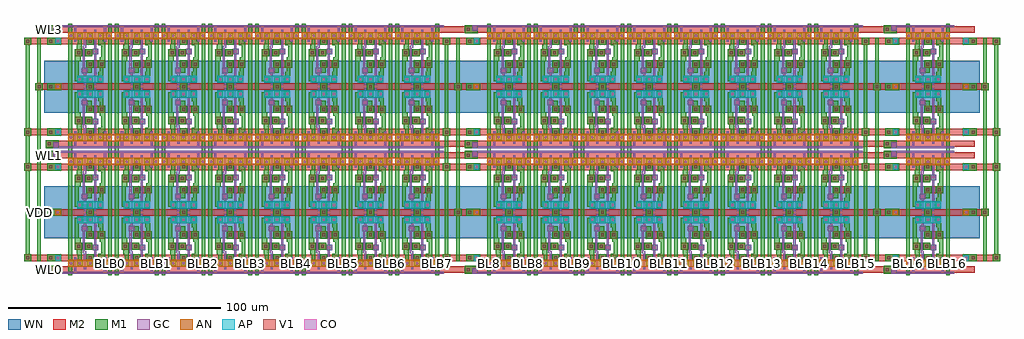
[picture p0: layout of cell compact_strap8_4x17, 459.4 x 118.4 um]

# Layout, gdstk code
import gdstk
lib = gdstk.Library(unit=1e-6, precision=1e-07)
def R(c, l, rs):  # rectangles x0, y0, x1, y1
    for r in rs: c.add(gdstk.rectangle(r[:2], r[2:], *l))
def A(c, l, x, y, w, h, nx, ny, dx, dy):  # array of equal rectangles
    R(c, l, [(x+i*dx, y+j*dy, x+i*dx+w, y+j*dy+h) for i in range(nx) for j in range(ny)])
def P(c, l, *ps):  # polygons
    for p in ps: c.add(gdstk.Polygon(p, *l))
AP = (3, 1)
AN = (3, 2)
GC = (8, 1)
CO = (11, 0)
M1 = (13, 0)
V1 = (19, 0)
M2 = (20, 0)
WN = (140, 0)

compact_core = lib.new_cell('compact_core')
R(compact_core, AP, [(3.5,18.7,15.7,22.1)])
R(compact_core, AN, [(-0.7,-1.7,19.9,1.7)])
R(compact_core, GC, [(0,-5.1,22,-4.1), (2.1,-5.1,3.1,2.9), (16.1,-5.1,17.1,2.9), (6.7,-2.9,7.7,5.6), (11.5,-2.9,12.5,23.3), (6.1,4.6,7.7,5.6), (6.1,4.6,7.1,17.9), (10.9,6.1,13.5,8.7), (11.5,6.9,12.7,7.9), (5.7,15.1,8.3,17.7), (6.1,15.9,7.5,16.9), (6.1,16.9,7.7,17.9), (6.7,16.9,7.7,23.3)])
A(compact_core, CO, 4.3, -0.5, 1, 1, 3, 2, 4.8, 20.4)
R(compact_core, CO, [(0.1,-0.5,1.1,0.5), (18.1,-0.5,19.1,0.5), (11.7,6.9,12.7,7.9), (6.5,15.9,7.5,16.9)])
P(compact_core, M1, [(8.3,-1.3),(8.3,0.8),(7.9,0.8),(7.9,4.2),(11.3,4.2),(11.3,0.8),(10.9,0.8),(10.9,-1.3)],
  [(10.9,6.1),(10.9,6.2),(7.3,6.2),(7.3,9.6),(10.7,9.6),(10.7,8.7),(13.5,8.7),(13.5,6.1)],
  [(7.9,11.6),(7.9,15.1),(5.7,15.1),(5.7,17.7),(8.3,17.7),(8.3,17.3),(10.5,17.3),(10.5,15),(11.3,15),(11.3,11.6)],
  [(3.5,-1.3),(3.5,1.3),(3.9,1.3),(3.9,4.1),(3.3,4.1),(3.3,6.2),(2.5,6.2),(2.5,21.3),(3.5,21.3),(3.5,21.7),(6.1,21.7),(6.1,19.1),(4.3,19.1),(4.3,11.9),(5.1,11.9),(5.1,9.6),(5.9,9.6),(5.9,6.2),(5.7,6.2),(5.7,1.3),(6.1,1.3),(6.1,-1.3)],
  [(13.1,-1.3),(13.1,1.3),(13.5,1.3),(13.5,4.5),(14.9,4.5),(14.9,10.1),(14.1,10.1),(14.1,11.6),(13.3,11.6),(13.3,15),(14.1,15),(14.1,16.9),(13.5,16.9),(13.5,19.1),(13.1,19.1),(13.1,21.7),(15.7,21.7),(15.7,18.7),(15.9,18.7),(15.9,15),(16.7,15),(16.7,2.7),(15.7,2.7),(15.7,-1.3)],
  [(-0.7,-5.7),(-0.7,23.9),(1.1,23.9),(1.1,1.3),(1.9,1.3),(1.9,-1.3),(1.1,-1.3),(1.1,-5.7)],
  [(18.1,-5.7),(18.1,-1.3),(17.3,-1.3),(17.3,1.3),(18.1,1.3),(18.1,23.9),(19.9,23.9),(19.9,-5.7)],
  [(8.3,19.1),(8.3,22.2),(7.9,22.2),(7.9,25.6),(11.3,25.6),(11.3,22.2),(10.9,22.2),(10.9,19.1)])
R(compact_core, V1, [(8.9,1.8,10.3,3.2), (3.5,7.2,4.9,8.6), (8.3,7.2,9.7,8.6), (8.9,12.6,10.3,14), (14.3,12.6,15.7,14), (8.9,23.2,10.3,24.6)])
R(compact_core, M2, [(0,-4.5,22,-1.5), (7.9,0.8,11.3,4.2), (0,1,22,4), (2.5,6.2,5.9,9.6), (2.5,6.2,10.7,9.6), (7.3,6.2,10.7,9.6), (7.9,11.6,11.3,15), (7.9,11.6,16.7,15), (13.3,11.6,16.7,15), (7.9,22.2,11.3,25.6), (0,22.4,22,25.4)])
R(compact_core, WN, [(-3.5,11.7,25.5,29.1)])

compact_strap8_4x17 = lib.new_cell('compact_strap8_4x17')
A(compact_strap8_4x17, AP, -6.9, 6.9, 2.6, 2.6, 3, 2, 197.2, 42.8)
A(compact_strap8_4x17, AP, -6.9, 66.1, 2.6, 2.6, 3, 2, 197.2, 42.8)
R(compact_strap8_4x17, AP, [(420.7,6.9,423.3,9.5), (420.7,49.7,423.3,52.3), (420.7,66.1,423.3,68.7), (420.7,108.9,423.3,111.5)])
A(compact_strap8_4x17, AN, -6.9, 28.3, 2.6, 2.6, 3, 2, 197.2, 59.2)
R(compact_strap8_4x17, AN, [(420.7,28.3,423.3,30.9), (420.7,87.5,423.3,90.1)])
A(compact_strap8_4x17, GC, -6.9, 0.6, 1, 1.9, 3, 2, 197.2, 56.1)
A(compact_strap8_4x17, GC, -6.4, 0.6, 6.4, 1, 3, 2, 197.2, 57)
A(compact_strap8_4x17, GC, -7.7, 0.7, 2.6, 2.6, 3, 2, 197.2, 55.2)
A(compact_strap8_4x17, GC, -6.9, 59.8, 1, 1.9, 3, 2, 197.2, 56.1)
A(compact_strap8_4x17, GC, -6.4, 59.8, 6.4, 1, 3, 2, 197.2, 57)
A(compact_strap8_4x17, GC, -7.7, 59.9, 2.6, 2.6, 3, 2, 197.2, 55.2)
A(compact_strap8_4x17, CO, -6.9, 1.5, 1, 1, 3, 2, 197.2, 55.2)
A(compact_strap8_4x17, CO, -6.1, 7.7, 1, 1, 3, 3, 197.2, 21.4)
A(compact_strap8_4x17, CO, 421.5, 7.7, 1, 1, 1, 3, 0, 21.4)
A(compact_strap8_4x17, CO, -6.9, 60.7, 1, 1, 3, 2, 197.2, 55.2)
A(compact_strap8_4x17, CO, -6.1, 66.9, 1, 1, 3, 3, 197.2, 21.4)
A(compact_strap8_4x17, CO, 421.5, 66.9, 1, 1, 1, 3, 0, 21.4)
A(compact_strap8_4x17, M1, -11.3, 0.7, 6.2, 3.7, 3, 2, 197.2, 54.1)
A(compact_strap8_4x17, M1, -7.7, 0.7, 2.6, 2.6, 3, 2, 197.2, 55.2)
A(compact_strap8_4x17, M1, -11.3, 1, 3.4, 3.4, 3, 2, 197.2, 53.8)
A(compact_strap8_4x17, M1, -10.5, 6.5, 3.4, 3.4, 1, 3, 0, 21.4)
A(compact_strap8_4x17, M1, -10.5, 6.5, 6.6, 3.4, 3, 3, 197.2, 21.4)
A(compact_strap8_4x17, M1, 186.7, 6.5, 3.4, 3.4, 1, 3, 0, 21.4)
A(compact_strap8_4x17, M1, 383.9, 6.5, 3.4, 3.4, 1, 3, 0, 21.4)
A(compact_strap8_4x17, M1, 420.3, 6.5, 6.6, 3.4, 1, 3, 0, 21.4)
A(compact_strap8_4x17, M1, 423.5, 6.5, 3.4, 3.4, 1, 3, 0, 21.4)
A(compact_strap8_4x17, M1, -6.9, 6.9, 2.6, 2.6, 3, 3, 197.2, 21.4)
A(compact_strap8_4x17, M1, 420.7, 6.9, 2.6, 2.6, 1, 3, 0, 21.4)
A(compact_strap8_4x17, M1, -11.3, 59.9, 6.2, 3.7, 3, 2, 197.2, 54.1)
A(compact_strap8_4x17, M1, -7.7, 59.9, 2.6, 2.6, 3, 2, 197.2, 55.2)
A(compact_strap8_4x17, M1, -11.3, 60.2, 3.4, 3.4, 3, 2, 197.2, 53.8)
A(compact_strap8_4x17, M1, -10.5, 65.7, 3.4, 3.4, 1, 3, 0, 21.4)
A(compact_strap8_4x17, M1, -10.5, 65.7, 6.6, 3.4, 3, 3, 197.2, 21.4)
A(compact_strap8_4x17, M1, 186.7, 65.7, 3.4, 3.4, 1, 3, 0, 21.4)
A(compact_strap8_4x17, M1, 383.9, 65.7, 3.4, 3.4, 1, 3, 0, 21.4)
A(compact_strap8_4x17, M1, 420.3, 65.7, 6.6, 3.4, 1, 3, 0, 21.4)
A(compact_strap8_4x17, M1, 423.5, 65.7, 3.4, 3.4, 1, 3, 0, 21.4)
A(compact_strap8_4x17, M1, -6.9, 66.1, 2.6, 2.6, 3, 3, 197.2, 21.4)
A(compact_strap8_4x17, M1, 420.7, 66.1, 2.6, 2.6, 1, 3, 0, 21.4)
R(compact_strap8_4x17, M1, [(-21.5,6.5,-18.1,9.9), (-20.7,6.5,-18.9,111.9), (-15.3,6.5,-13.5,111.9), (175.7,6.5,179.1,9.9), (176.5,6.5,178.3,111.9), (181.9,6.5,183.7,111.9), (372.9,6.5,376.3,9.9), (373.7,6.5,375.5,111.9), (379.1,6.5,380.9,111.9), (429.9,6.5,431.7,111.9), (434.5,6.5,437.9,9.9), (435.3,6.5,437.1,111.9), (-16.1,27.9,-12.7,31.3), (181.1,27.9,184.5,31.3), (378.3,27.9,381.7,31.3), (429.1,27.9,432.5,31.3), (-21.5,49.3,-18.1,52.7), (175.7,49.3,179.1,52.7), (372.9,49.3,376.3,52.7), (434.5,49.3,437.9,52.7), (-21.5,65.7,-18.1,69.1), (175.7,65.7,179.1,69.1), (372.9,65.7,376.3,69.1), (434.5,65.7,437.9,69.1), (-16.1,87.1,-12.7,90.5), (181.1,87.1,184.5,90.5), (378.3,87.1,381.7,90.5), (429.1,87.1,432.5,90.5), (-21.5,108.5,-18.1,111.9), (175.7,108.5,179.1,111.9), (372.9,108.5,376.3,111.9), (434.5,108.5,437.9,111.9)])
A(compact_strap8_4x17, V1, -10.3, 2, 1.4, 1.4, 3, 2, 197.2, 53.8)
A(compact_strap8_4x17, V1, -9.5, 7.5, 1.4, 1.4, 1, 3, 0, 21.4)
A(compact_strap8_4x17, V1, 187.7, 7.5, 1.4, 1.4, 1, 3, 0, 21.4)
A(compact_strap8_4x17, V1, 384.9, 7.5, 1.4, 1.4, 1, 3, 0, 21.4)
A(compact_strap8_4x17, V1, 424.5, 7.5, 1.4, 1.4, 1, 3, 0, 21.4)
A(compact_strap8_4x17, V1, -10.3, 61.2, 1.4, 1.4, 3, 2, 197.2, 53.8)
A(compact_strap8_4x17, V1, -9.5, 66.7, 1.4, 1.4, 1, 3, 0, 21.4)
A(compact_strap8_4x17, V1, 187.7, 66.7, 1.4, 1.4, 1, 3, 0, 21.4)
A(compact_strap8_4x17, V1, 384.9, 66.7, 1.4, 1.4, 1, 3, 0, 21.4)
A(compact_strap8_4x17, V1, 424.5, 66.7, 1.4, 1.4, 1, 3, 0, 21.4)
R(compact_strap8_4x17, V1, [(-20.5,7.5,-19.1,8.9), (176.7,7.5,178.1,8.9), (373.9,7.5,375.3,8.9), (435.5,7.5,436.9,8.9), (-15.1,28.9,-13.7,30.3), (182.1,28.9,183.5,30.3), (379.3,28.9,380.7,30.3), (430.1,28.9,431.5,30.3), (-20.5,50.3,-19.1,51.7), (176.7,50.3,178.1,51.7), (373.9,50.3,375.3,51.7), (435.5,50.3,436.9,51.7), (-20.5,66.7,-19.1,68.1), (176.7,66.7,178.1,68.1), (373.9,66.7,375.3,68.1), (435.5,66.7,436.9,68.1), (-15.1,88.1,-13.7,89.5), (182.1,88.1,183.5,89.5), (379.3,88.1,380.7,89.5), (430.1,88.1,431.5,89.5), (-20.5,109.5,-19.1,110.9), (176.7,109.5,178.1,110.9), (373.9,109.5,375.3,110.9), (435.5,109.5,436.9,110.9)])
A(compact_strap8_4x17, M2, -11.3, 1, 3.4, 3.4, 3, 2, 197.2, 53.8)
A(compact_strap8_4x17, M2, -10.5, 6.5, 3.4, 3.4, 1, 3, 0, 21.4)
A(compact_strap8_4x17, M2, 186.7, 6.5, 3.4, 3.4, 1, 3, 0, 21.4)
A(compact_strap8_4x17, M2, 383.9, 6.5, 3.4, 3.4, 1, 3, 0, 21.4)
A(compact_strap8_4x17, M2, 423.5, 6.5, 3.4, 3.4, 1, 3, 0, 21.4)
A(compact_strap8_4x17, M2, -11.3, 60.2, 3.4, 3.4, 3, 2, 197.2, 53.8)
A(compact_strap8_4x17, M2, -10.5, 65.7, 3.4, 3.4, 1, 3, 0, 21.4)
A(compact_strap8_4x17, M2, 186.7, 65.7, 3.4, 3.4, 1, 3, 0, 21.4)
A(compact_strap8_4x17, M2, 383.9, 65.7, 3.4, 3.4, 1, 3, 0, 21.4)
A(compact_strap8_4x17, M2, 423.5, 65.7, 3.4, 3.4, 1, 3, 0, 21.4)
R(compact_strap8_4x17, M2, [(-9.6,1.2,426,4.2), (-21.5,6.5,-18.1,9.9), (175.7,6.5,179.1,9.9), (372.9,6.5,376.3,9.9), (434.5,6.5,437.9,9.9), (-21.5,6.7,418.1,9.7), (-1.7,6.7,437.9,9.7), (-1.7,6.7,418.1,9.7), (-1.7,6.7,418.1,9.7), (-16.1,27.9,-12.7,31.3), (181.1,27.9,184.5,31.3), (378.3,27.9,381.7,31.3), (429.1,27.9,432.5,31.3), (-16.1,28.1,418.1,31.1), (-1.7,28.1,432.5,31.1), (-1.7,28.1,418.1,31.1), (-1.7,28.1,418.1,31.1), (-21.5,49.3,-18.1,52.7), (175.7,49.3,179.1,52.7), (372.9,49.3,376.3,52.7), (434.5,49.3,437.9,52.7), (-21.5,49.5,418.1,52.5), (-1.7,49.5,437.9,52.5), (-1.7,49.5,418.1,52.5), (-1.7,49.5,418.1,52.5), (-9.6,55,426,58), (-9.6,60.4,426,63.4), (-21.5,65.7,-18.1,69.1), (175.7,65.7,179.1,69.1), (372.9,65.7,376.3,69.1), (434.5,65.7,437.9,69.1), (-21.5,65.9,418.1,68.9), (-1.7,65.9,437.9,68.9), (-1.7,65.9,418.1,68.9), (-1.7,65.9,418.1,68.9), (-16.1,87.1,-12.7,90.5), (181.1,87.1,184.5,90.5), (378.3,87.1,381.7,90.5), (429.1,87.1,432.5,90.5), (-16.1,87.3,418.1,90.3), (-1.7,87.3,432.5,90.3), (-1.7,87.3,418.1,90.3), (-1.7,87.3,418.1,90.3), (-21.5,108.5,-18.1,111.9), (175.7,108.5,179.1,111.9), (372.9,108.5,376.3,111.9), (434.5,108.5,437.9,111.9), (-21.5,108.7,418.1,111.7), (-1.7,108.7,437.9,111.7), (-1.7,108.7,418.1,111.7), (-1.7,108.7,418.1,111.7), (-9.6,114.2,426,117.2)])
R(compact_strap8_4x17, WN, [(-12,17.4,428.4,41.8), (0,17.4,428.4,41.8), (185.2,17.4,428.4,41.8), (382.4,17.4,428.4,41.8), (-12,76.6,428.4,101), (0,76.6,428.4,101), (185.2,76.6,428.4,101), (382.4,76.6,428.4,101)])
compact_strap8_4x17.add(gdstk.Reference(compact_core, (0,5.7)))
compact_strap8_4x17.add(gdstk.Reference(compact_core, (22,5.7)))
compact_strap8_4x17.add(gdstk.Reference(compact_core, (44,5.7)))
compact_strap8_4x17.add(gdstk.Reference(compact_core, (66,5.7)))
compact_strap8_4x17.add(gdstk.Reference(compact_core, (88,5.7)))
compact_strap8_4x17.add(gdstk.Reference(compact_core, (110,5.7)))
compact_strap8_4x17.add(gdstk.Reference(compact_core, (132,5.7)))
compact_strap8_4x17.add(gdstk.Reference(compact_core, (154,5.7)))
compact_strap8_4x17.add(gdstk.Reference(compact_core, (197.2,5.7)))
compact_strap8_4x17.add(gdstk.Reference(compact_core, (219.2,5.7)))
compact_strap8_4x17.add(gdstk.Reference(compact_core, (241.2,5.7)))
compact_strap8_4x17.add(gdstk.Reference(compact_core, (263.2,5.7)))
compact_strap8_4x17.add(gdstk.Reference(compact_core, (285.2,5.7)))
compact_strap8_4x17.add(gdstk.Reference(compact_core, (307.2,5.7)))
compact_strap8_4x17.add(gdstk.Reference(compact_core, (329.2,5.7)))
compact_strap8_4x17.add(gdstk.Reference(compact_core, (351.2,5.7)))
compact_strap8_4x17.add(gdstk.Reference(compact_core, (394.4,5.7)))
compact_strap8_4x17.add(gdstk.Reference(compact_core, (0,53.5), x_reflection=True))
compact_strap8_4x17.add(gdstk.Reference(compact_core, (22,53.5), x_reflection=True))
compact_strap8_4x17.add(gdstk.Reference(compact_core, (44,53.5), x_reflection=True))
compact_strap8_4x17.add(gdstk.Reference(compact_core, (66,53.5), x_reflection=True))
compact_strap8_4x17.add(gdstk.Reference(compact_core, (88,53.5), x_reflection=True))
compact_strap8_4x17.add(gdstk.Reference(compact_core, (110,53.5), x_reflection=True))
compact_strap8_4x17.add(gdstk.Reference(compact_core, (132,53.5), x_reflection=True))
compact_strap8_4x17.add(gdstk.Reference(compact_core, (154,53.5), x_reflection=True))
compact_strap8_4x17.add(gdstk.Reference(compact_core, (197.2,53.5), x_reflection=True))
compact_strap8_4x17.add(gdstk.Reference(compact_core, (219.2,53.5), x_reflection=True))
compact_strap8_4x17.add(gdstk.Reference(compact_core, (241.2,53.5), x_reflection=True))
compact_strap8_4x17.add(gdstk.Reference(compact_core, (263.2,53.5), x_reflection=True))
compact_strap8_4x17.add(gdstk.Reference(compact_core, (285.2,53.5), x_reflection=True))
compact_strap8_4x17.add(gdstk.Reference(compact_core, (307.2,53.5), x_reflection=True))
compact_strap8_4x17.add(gdstk.Reference(compact_core, (329.2,53.5), x_reflection=True))
compact_strap8_4x17.add(gdstk.Reference(compact_core, (351.2,53.5), x_reflection=True))
compact_strap8_4x17.add(gdstk.Reference(compact_core, (394.4,53.5), x_reflection=True))
compact_strap8_4x17.add(gdstk.Reference(compact_core, (0,64.9)))
compact_strap8_4x17.add(gdstk.Reference(compact_core, (22,64.9)))
compact_strap8_4x17.add(gdstk.Reference(compact_core, (44,64.9)))
compact_strap8_4x17.add(gdstk.Reference(compact_core, (66,64.9)))
compact_strap8_4x17.add(gdstk.Reference(compact_core, (88,64.9)))
compact_strap8_4x17.add(gdstk.Reference(compact_core, (110,64.9)))
compact_strap8_4x17.add(gdstk.Reference(compact_core, (132,64.9)))
compact_strap8_4x17.add(gdstk.Reference(compact_core, (154,64.9)))
compact_strap8_4x17.add(gdstk.Reference(compact_core, (197.2,64.9)))
compact_strap8_4x17.add(gdstk.Reference(compact_core, (219.2,64.9)))
compact_strap8_4x17.add(gdstk.Reference(compact_core, (241.2,64.9)))
compact_strap8_4x17.add(gdstk.Reference(compact_core, (263.2,64.9)))
compact_strap8_4x17.add(gdstk.Reference(compact_core, (285.2,64.9)))
compact_strap8_4x17.add(gdstk.Reference(compact_core, (307.2,64.9)))
compact_strap8_4x17.add(gdstk.Reference(compact_core, (329.2,64.9)))
compact_strap8_4x17.add(gdstk.Reference(compact_core, (351.2,64.9)))
compact_strap8_4x17.add(gdstk.Reference(compact_core, (394.4,64.9)))
compact_strap8_4x17.add(gdstk.Reference(compact_core, (0,112.7), x_reflection=True))
compact_strap8_4x17.add(gdstk.Reference(compact_core, (22,112.7), x_reflection=True))
compact_strap8_4x17.add(gdstk.Reference(compact_core, (44,112.7), x_reflection=True))
compact_strap8_4x17.add(gdstk.Reference(compact_core, (66,112.7), x_reflection=True))
compact_strap8_4x17.add(gdstk.Reference(compact_core, (88,112.7), x_reflection=True))
compact_strap8_4x17.add(gdstk.Reference(compact_core, (110,112.7), x_reflection=True))
compact_strap8_4x17.add(gdstk.Reference(compact_core, (132,112.7), x_reflection=True))
compact_strap8_4x17.add(gdstk.Reference(compact_core, (154,112.7), x_reflection=True))
compact_strap8_4x17.add(gdstk.Reference(compact_core, (197.2,112.7), x_reflection=True))
compact_strap8_4x17.add(gdstk.Reference(compact_core, (219.2,112.7), x_reflection=True))
compact_strap8_4x17.add(gdstk.Reference(compact_core, (241.2,112.7), x_reflection=True))
compact_strap8_4x17.add(gdstk.Reference(compact_core, (263.2,112.7), x_reflection=True))
compact_strap8_4x17.add(gdstk.Reference(compact_core, (285.2,112.7), x_reflection=True))
compact_strap8_4x17.add(gdstk.Reference(compact_core, (307.2,112.7), x_reflection=True))
compact_strap8_4x17.add(gdstk.Reference(compact_core, (329.2,112.7), x_reflection=True))
compact_strap8_4x17.add(gdstk.Reference(compact_core, (351.2,112.7), x_reflection=True))
compact_strap8_4x17.add(gdstk.Reference(compact_core, (394.4,112.7), x_reflection=True))
compact_strap8_4x17.add(gdstk.Label('WL0', (-9.6,2.7), layer=49, texttype=0))
compact_strap8_4x17.add(gdstk.Label('WL1', (-9.6,56.5), layer=49, texttype=0))
compact_strap8_4x17.add(gdstk.Label('WL2', (-9.6,61.9), layer=49, texttype=0))
compact_strap8_4x17.add(gdstk.Label('WL3', (-9.6,115.7), layer=49, texttype=0))
compact_strap8_4x17.add(gdstk.Label('VDD', (-14.4,29.6), layer=48, texttype=0))
compact_strap8_4x17.add(gdstk.Label('VSS', (-19.8,8.2), layer=48, texttype=0))
compact_strap8_4x17.add(gdstk.Label('BL0', (0.2,5.7), layer=48, texttype=0))
compact_strap8_4x17.add(gdstk.Label('BLB0', (19,5.7), layer=48, texttype=0))
compact_strap8_4x17.add(gdstk.Label('BL1', (22.2,5.7), layer=48, texttype=0))
compact_strap8_4x17.add(gdstk.Label('BLB1', (41,5.7), layer=48, texttype=0))
compact_strap8_4x17.add(gdstk.Label('BL2', (44.2,5.7), layer=48, texttype=0))
compact_strap8_4x17.add(gdstk.Label('BLB2', (63,5.7), layer=48, texttype=0))
compact_strap8_4x17.add(gdstk.Label('BL3', (66.2,5.7), layer=48, texttype=0))
compact_strap8_4x17.add(gdstk.Label('BLB3', (85,5.7), layer=48, texttype=0))
compact_strap8_4x17.add(gdstk.Label('BL4', (88.2,5.7), layer=48, texttype=0))
compact_strap8_4x17.add(gdstk.Label('BLB4', (107,5.7), layer=48, texttype=0))
compact_strap8_4x17.add(gdstk.Label('BL5', (110.2,5.7), layer=48, texttype=0))
compact_strap8_4x17.add(gdstk.Label('BLB5', (129,5.7), layer=48, texttype=0))
compact_strap8_4x17.add(gdstk.Label('BL6', (132.2,5.7), layer=48, texttype=0))
compact_strap8_4x17.add(gdstk.Label('BLB6', (151,5.7), layer=48, texttype=0))
compact_strap8_4x17.add(gdstk.Label('BL7', (154.2,5.7), layer=48, texttype=0))
compact_strap8_4x17.add(gdstk.Label('BLB7', (173,5.7), layer=48, texttype=0))
compact_strap8_4x17.add(gdstk.Label('BL8', (197.4,5.7), layer=48, texttype=0))
compact_strap8_4x17.add(gdstk.Label('BLB8', (216.2,5.7), layer=48, texttype=0))
compact_strap8_4x17.add(gdstk.Label('BL9', (219.4,5.7), layer=48, texttype=0))
compact_strap8_4x17.add(gdstk.Label('BLB9', (238.2,5.7), layer=48, texttype=0))
compact_strap8_4x17.add(gdstk.Label('BL10', (241.4,5.7), layer=48, texttype=0))
compact_strap8_4x17.add(gdstk.Label('BLB10', (260.2,5.7), layer=48, texttype=0))
compact_strap8_4x17.add(gdstk.Label('BL11', (263.4,5.7), layer=48, texttype=0))
compact_strap8_4x17.add(gdstk.Label('BLB11', (282.2,5.7), layer=48, texttype=0))
compact_strap8_4x17.add(gdstk.Label('BL12', (285.4,5.7), layer=48, texttype=0))
compact_strap8_4x17.add(gdstk.Label('BLB12', (304.2,5.7), layer=48, texttype=0))
compact_strap8_4x17.add(gdstk.Label('BL13', (307.4,5.7), layer=48, texttype=0))
compact_strap8_4x17.add(gdstk.Label('BLB13', (326.2,5.7), layer=48, texttype=0))
compact_strap8_4x17.add(gdstk.Label('BL14', (329.4,5.7), layer=48, texttype=0))
compact_strap8_4x17.add(gdstk.Label('BLB14', (348.2,5.7), layer=48, texttype=0))
compact_strap8_4x17.add(gdstk.Label('BL15', (351.4,5.7), layer=48, texttype=0))
compact_strap8_4x17.add(gdstk.Label('BLB15', (370.2,5.7), layer=48, texttype=0))
compact_strap8_4x17.add(gdstk.Label('BL16', (394.6,5.7), layer=48, texttype=0))
compact_strap8_4x17.add(gdstk.Label('BLB16', (413.4,5.7), layer=48, texttype=0))

lib.write_gds('compact_strap8_4x17.gds')
